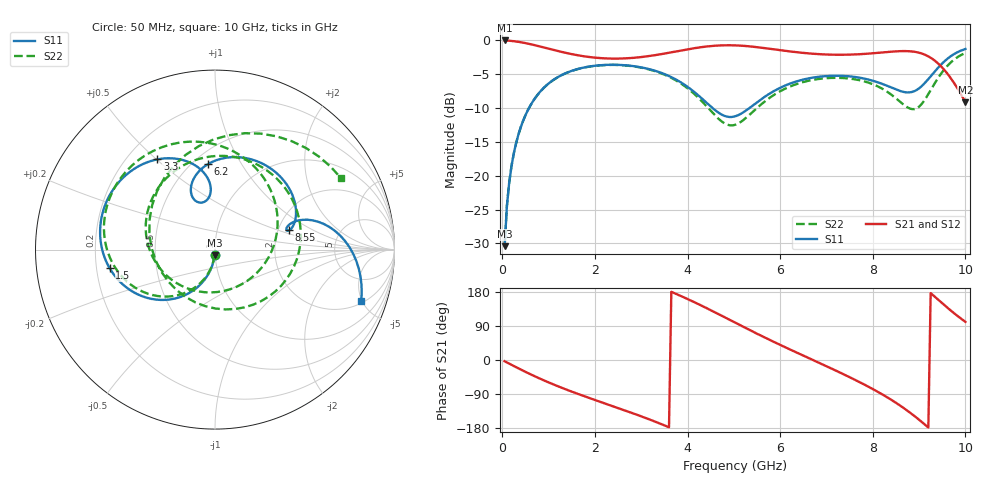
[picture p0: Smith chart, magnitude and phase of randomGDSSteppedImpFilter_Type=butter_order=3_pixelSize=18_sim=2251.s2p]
! freq	dB(S11)	phase(S11)	dB(S12)	phase(S12)
!  dB(S21)	phase(S21)	dB(S22)	phase(S22)
!S-par simulation data
#  GHz  S  DB  R 50
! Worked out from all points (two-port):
!   200 points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, 50 MHz to 10 GHz, reference 50 ohm
!   highest |S21| = -0.01 dB at 50 MHz (marker M1); lowest = -9.1 dB at 10 GHz (marker M2)
!   |S21| within 3 dB of the highest: start of sweep to 9.342 GHz
!   lowest |S11| = -30.4 dB at 50 MHz (marker M3), VSWR 1.06, Z = 49.7 - j3 ohm
!   |S11| at or under -10 dB: start of sweep to 576.3 MHz; 4.542 GHz to 5.335 GHz (793.4 MHz wide, 16.1 % of centre)
!   |S22| runs from -30.4 to -1.9 dB; largest |S21 - S12| = 0
!   S11 on the Smith chart (normalised r, x): 50 MHz: 0.99, -0.06; 1.5 GHz: 0.26, -0.08; 3.3 GHz: 0.32, +0.50; 6.2 GHz: 0.59, +0.73; 8.55 GHz: 2.30, +0.61; 10 GHz: 2.17, -4.92
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0.05  -30.40 -93.2  -0.01 -3.2  -0.01 -3.2  -30.40 -93.5
0.2  -18.52 -102.8  -0.08 -12.8  -0.08 -12.8  -18.52 -103.7
0.45  -11.87 -117.7  -0.33 -28.3  -0.33 -28.3  -11.88 -119.9
0.95  -6.66 -144.7  -1.13 -56.6  -1.13 -56.6  -6.66 -149.5
1.5  -4.50 -169.9  -2.03 -83.5  -2.03 -83.5  -4.51 -178.0
1.75  -4.03 179.8  -2.33 -94.7  -2.33 -94.7  -4.04 169.9
2.65  -3.67 145.9  -2.66 -133.2  -2.66 -133.2  -3.70 127.1
3.3  -4.49 122.6  -2.18 -162.6  -2.18 -162.6  -4.55 92.3
3.4  -4.71 119.1  -2.07 -167.5  -2.07 -167.5  -4.78 86.3
4.25  -8.22 95.2  -1.05 146.6  -1.05 146.6  -8.58 20.6
5.05  -11.17 108.5  -0.74 97.2  -0.74 97.2  -12.42 -94.9
5.65  -8.41 110.4  -1.12 60.4  -1.12 60.4  -9.12 -173.3
6.2  -6.42 94.7  -1.62 28.5  -1.62 28.5  -6.85 139.4
6.7  -5.51 76.1  -1.97 0.4  -1.97 0.4  -5.84 102.8
7.2  -5.22 56.4  -2.12 -27.8  -2.12 -27.8  -5.53 67.3
7.7  -5.49 37.1  -2.05 -57.4  -2.05 -57.4  -5.86 29.2
8.35  -6.82 17.0  -1.69 -101.3  -1.69 -101.3  -7.76 -34.7
8.55  -7.38 14.6  -1.60 -116.9  -1.60 -116.9  -8.84 -62.8
8.9  -7.49 17.5  -1.68 -147.9  -1.68 -147.9  -10.15 -133.5
9.25  -5.31 17.9  -2.56 176.5  -2.56 176.5  -7.35 144.7
9.65  -2.51 1.1  -5.26 134.0  -5.26 134.0  -3.49 75.6
10  -1.27 -19.4  -9.12 100.6  -9.12 100.6  -1.87 29.7
